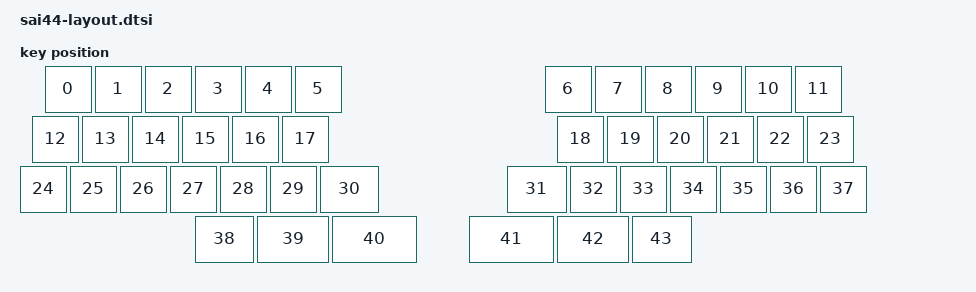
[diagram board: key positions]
#include <physical_layouts.dtsi>

/ {
    sai44_layout: sai44_layout {
        compatible = "zmk,physical-layout";
        display-name = "Default";
        transform = <&default_transform>;
        kscan = <&kscan0>;

        keys  //                     w   h    x    y     rot    rx    ry
            = <&key_physical_attrs 100 100   50    0       0     0     0>
            , <&key_physical_attrs 100 100  150    0       0     0     0>
            , <&key_physical_attrs 100 100  250    0       0     0     0>
            , <&key_physical_attrs 100 100  350    0       0     0     0>
            , <&key_physical_attrs 100 100  450    0       0     0     0>
            , <&key_physical_attrs 100 100  550    0       0     0     0>
            , <&key_physical_attrs 100 100 1050    0       0     0     0>
            , <&key_physical_attrs 100 100 1150    0       0     0     0>
            , <&key_physical_attrs 100 100 1250    0       0     0     0>
            , <&key_physical_attrs 100 100 1350    0       0     0     0>
            , <&key_physical_attrs 100 100 1450    0       0     0     0>
            , <&key_physical_attrs 100 100 1550    0       0     0     0>
            , <&key_physical_attrs 100 100   25  100       0     0     0>
            , <&key_physical_attrs 100 100  125  100       0     0     0>
            , <&key_physical_attrs 100 100  225  100       0     0     0>
            , <&key_physical_attrs 100 100  325  100       0     0     0>
	    , <&key_physical_attrs 100 100  425  100       0     0     0>
            , <&key_physical_attrs 100 100  525  100       0     0     0>
            , <&key_physical_attrs 100 100 1075  100       0     0     0>
            , <&key_physical_attrs 100 100 1175  100       0     0     0>
            , <&key_physical_attrs 100 100 1275  100       0     0     0>
            , <&key_physical_attrs 100 100 1375  100       0     0     0>
	    , <&key_physical_attrs 100 100 1475  100       0     0     0>
            , <&key_physical_attrs 100 100 1575  100       0     0     0>
            , <&key_physical_attrs 100 100    0  200       0     0     0>
            , <&key_physical_attrs 100 100  100  200       0     0     0>
            , <&key_physical_attrs 100 100  200  200       0     0     0>
	    , <&key_physical_attrs 100 100  300  200       0     0     0>
            , <&key_physical_attrs 100 100  400  200       0     0     0>
            , <&key_physical_attrs 100 100  500  200       0     0     0>
            , <&key_physical_attrs 125 100  600  200       0     0     0>
            , <&key_physical_attrs 125 100  975  200       0     0     0>
            , <&key_physical_attrs 100 100 1100  200       0     0     0>
	    , <&key_physical_attrs 100 100 1200  200       0     0     0>
            , <&key_physical_attrs 100 100 1300  200       0     0     0>
            , <&key_physical_attrs 100 100 1400  200       0     0     0>
            , <&key_physical_attrs 100 100 1500  200       0     0     0>
            , <&key_physical_attrs 100 100 1600  200       0     0     0>
	    , <&key_physical_attrs 125 100  350  300       0     0     0>
            , <&key_physical_attrs 150 100  475  300       0     0     0>
            , <&key_physical_attrs 175 100  625  300       0     0     0>
            , <&key_physical_attrs 175 100  900  300       0     0     0>
            , <&key_physical_attrs 150 100 1075  300       0     0     0>
            , <&key_physical_attrs 125 100 1225  300       0     0     0>
            ;
    };

};
